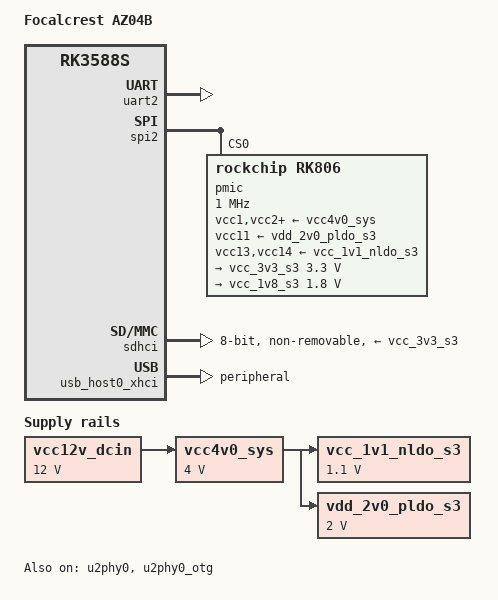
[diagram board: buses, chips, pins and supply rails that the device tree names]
// SPDX-License-Identifier: (GPL-2.0+ OR MIT)
/dts-v1/;

#include <dt-bindings/gpio/gpio.h>
#include <arm64/rockchip/rk3588s.dtsi>

/ {
	model = "Focalcrest AZ04B";
	compatible = "focalcrest,rk3588s-az04b", "rockchip,rk3588s";

	aliases {
		mmc0 = &sdhci;
		serial2 = &uart2;
	};

	chosen {
		stdout-path = "serial2:1500000n8";
	};

	vcc12v_dcin: regulator-vcc12v-dcin {
		compatible = "regulator-fixed";
		regulator-name = "vcc12v_dcin";
		regulator-always-on;
		regulator-boot-on;
		regulator-min-microvolt = <12000000>;
		regulator-max-microvolt = <12000000>;
	};

	vcc4v0_sys: regulator-vcc4v0-sys {
		compatible = "regulator-fixed";
		regulator-name = "vcc4v0_sys";
		regulator-always-on;
		regulator-boot-on;
		regulator-min-microvolt = <4000000>;
		regulator-max-microvolt = <4000000>;
		vin-supply = <&vcc12v_dcin>;
	};

	vcc_1v1_nldo_s3: regulator-vcc-1v1-nldo-s3 {
		compatible = "regulator-fixed";
		regulator-name = "vcc_1v1_nldo_s3";
		regulator-always-on;
		regulator-boot-on;
		regulator-min-microvolt = <1100000>;
		regulator-max-microvolt = <1100000>;
		vin-supply = <&vcc4v0_sys>;
	};

	vdd_2v0_pldo_s3: regulator-vdd-2v0-pldo-s3 {
		compatible = "regulator-fixed";
		regulator-name = "vdd_2v0_pldo_s3";
		regulator-always-on;
		regulator-boot-on;
		regulator-min-microvolt = <2000000>;
		regulator-max-microvolt = <2000000>;
		vin-supply = <&vcc4v0_sys>;
	};
};

&uart2 {
	pinctrl-0 = <&uart2m0_xfer>;
	status = "okay";
};

&spi2 {
	num-cs = <1>;
	pinctrl-0 = <&spi2m2_cs0>, <&spi2m2_pins>;
	status = "okay";

	pmic@0 {
		compatible = "rockchip,rk806";
		reg = <0x0>;
		spi-max-frequency = <1000000>;

		system-power-controller;

		vcc1-supply = <&vcc4v0_sys>;
		vcc2-supply = <&vcc4v0_sys>;
		vcc3-supply = <&vcc4v0_sys>;
		vcc4-supply = <&vcc4v0_sys>;
		vcc5-supply = <&vcc4v0_sys>;
		vcc6-supply = <&vcc4v0_sys>;
		vcc7-supply = <&vcc4v0_sys>;
		vcc8-supply = <&vcc4v0_sys>;
		vcc9-supply = <&vcc4v0_sys>;
		vcc10-supply = <&vcc4v0_sys>;
		vcc11-supply = <&vdd_2v0_pldo_s3>;
		vcc12-supply = <&vcc4v0_sys>;
		vcc13-supply = <&vcc_1v1_nldo_s3>;
		vcc14-supply = <&vcc_1v1_nldo_s3>;
		vcca-supply = <&vcc4v0_sys>;

		regulators {
			vcc_3v3_s3: dcdc-reg8 {
				regulator-always-on;
				regulator-boot-on;
				regulator-min-microvolt = <3300000>;
				regulator-max-microvolt = <3300000>;
				regulator-name = "vcc_3v3_s3";
			};

			vcc_1v8_s3: dcdc-reg10 {
				regulator-always-on;
				regulator-boot-on;
				regulator-min-microvolt = <1800000>;
				regulator-max-microvolt = <1800000>;
				regulator-name = "vcc_1v8_s3";
			};
		};
	};
};

&sdhci {
	bus-width = <8>;
	max-frequency = <200000000>;
	mmc-hs200-1_8v;
	no-sd;
	no-sdio;
	non-removable;
	vmmc-supply = <&vcc_3v3_s3>;
	vqmmc-supply = <&vcc_1v8_s3>;
	status = "okay";
};

&sdmmc {
	status = "disabled";
};

&sdio {
	status = "disabled";
};

&spi0 {
	status = "disabled";
};

&u2phy0 {
	status = "okay";
};

&u2phy0_otg {
	status = "okay";
};

&usb_host0_xhci {
	dr_mode = "peripheral";
	maximum-speed = "high-speed";
	status = "okay";
};
